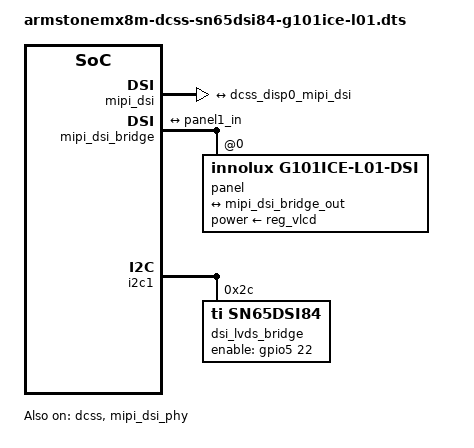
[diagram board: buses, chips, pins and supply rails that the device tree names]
/*
 * Copyright 2017 NXP
 *
 * This program is free software; you can redistribute it and/or
 * modify it under the terms of the GNU General Public License
 * as published by the Free Software Foundation; either version 2
 * of the License, or (at your option) any later version.
 *
 * This program is distributed in the hope that it will be useful,
 * but WITHOUT ANY WARRANTY; without even the implied warranty of
 * MERCHANTABILITY or FITNESS FOR A PARTICULAR PURPOSE.  See the
 * GNU General Public License for more details.
 */

#include "armstonemx8m.dts"

#define CONFIG_ARMSTONEMX8M_LVDS_3_3_V


&hdmi {
	status = "disabled";
};

&dcss {
	status = "okay";
	disp-dev = "mipi_disp";

	clocks = <&clk IMX8MQ_CLK_DISP_APB_ROOT>,
		 <&clk IMX8MQ_CLK_DISP_AXI_ROOT>,
		 <&clk IMX8MQ_CLK_DISP_RTRM_ROOT>,
		 <&clk IMX8MQ_CLK_DC_PIXEL>,
		 <&clk IMX8MQ_CLK_DUMMY>,
		 <&clk IMX8MQ_CLK_DISP_DTRC>;
	clock-names = "apb", "axi", "rtrm", "pix_div", "pix_out", "dtrc";

	assigned-clocks = <&clk IMX8MQ_CLK_DC_PIXEL>,
			  <&clk IMX8MQ_CLK_DISP_AXI>,
			  <&clk IMX8MQ_CLK_DISP_RTRM>,
			  <&clk IMX8MQ_VIDEO_PLL1_REF_SEL>,
			  <&clk IMX8MQ_VIDEO_PLL1>;
	assigned-clock-parents = <&clk IMX8MQ_VIDEO_PLL1_OUT>,
				 <&clk IMX8MQ_SYS1_PLL_800M>,
				 <&clk IMX8MQ_SYS1_PLL_800M>,
				 <&clk IMX8MQ_CLK_25M>;
	assigned-clock-rates = <600000000>,
			       <800000000>,
			       <0>,
			       <400000000>,
			       <599999999>;

	dcss_disp0: port@0 {
		reg = <0>;

		dcss_disp0_mipi_dsi: mipi_dsi {
			remote-endpoint = <&mipi_dsi_in>;
		};
	};
};

&mipi_dsi_phy {
	status = "okay";
};


&mipi_dsi {
	status = "okay";
	pwr-delay = <10>;
	best-match;

	assigned-clocks = <&clk IMX8MQ_CLK_DSI_PHY_REF>,
			  <&clk IMX8MQ_CLK_DSI_CORE>,
			  <&clk IMX8MQ_VIDEO_PLL1_REF_SEL>,
			  <&clk IMX8MQ_VIDEO_PLL1>;
	assigned-clock-parents = <&clk IMX8MQ_VIDEO_PLL1_OUT>,
				 <&clk IMX8MQ_SYS1_PLL_266M>,
				 <&clk IMX8MQ_CLK_25M>;
	assigned-clock-rates = <24000000>,
			       <266000000>,
			       <0>,
			       <599999999>;

	port@1 {
		#if 1
		mipi_dsi_in: endpoint {
			remote-endpoint = <&dcss_disp0_mipi_dsi>;
		};
		#else
		mipi_dsi_in: endpoint {
			remote-endpoint = <&lcdif_mipi_dsi>;
		};
		#endif
	};
};

&mipi_dsi_bridge {
	status = "okay";

	panel@0 {
		reg = <0>;
		compatible = "innolux,g101ice-l01-dsi"; /* one of panel-simple's
		     		          match strings */

		power-supply = <&reg_vlcd>;

		dsi,flags = <0x7>; /* MIPI_DSI_MODE_VIDEO MIPI_DSI_MODE_VIDEO_BURST MIPI_DSI_MODE_VIDEO_SYNC_PULSE */
		dsi,format = <0x0>; /* MIPI_DSI_FMT_RGB888 */
		dsi,lanes = <4>;
		panel-width-mm  = <217>;
		panel-height-mm = <135>;
		bus-flags = <1>;
		refresh-rate = <60>;
                rotate = <0>;

		display-timings {
			native-mode = <&timing0>;

			timing0: innolux_g101ice_l01 {
				clock-frequency = <71100000>;
				hactive = <1280>;
				vactive = <800>;
				hfront-porch = <80>;
				hsync-len = <1>;
				hback-porch = <79>;
				vfront-porch = <11>;
				vsync-len = <1>;
				vback-porch = <11>;
				de-active = <1>;
			};
		};

		port {
			panel1_in: endpoint {
				remote-endpoint = <&mipi_dsi_bridge_out>;
			};
		};
	};

	port@1 {
		mipi_dsi_bridge_out: endpoint {
			remote-endpoint = <&panel1_in>;
		};
	};
};

&i2c1 {

	dsi_lvds_bridge: sn65dsi84@2c {
		reg = <0x2c>;
		status = "okay";
		compatible = "ti,sn65dsi84";
		#gpio-cells = <2>;
		enable-gpios = <&gpio5 22 GPIO_ACTIVE_HIGH>; /* <&pinctrl_mipi_dsi_rst>; */
		sn65dsi84,addresses = <0x09 0x0A 0x0B 0x0D
		                       0x10 0x11 0x12 0x13
                               0x18 0x19 0x1A 0x1B
                               0x20 0x21 0x22 0x23
                               0x24 0x25 0x26 0x27
                               0x28 0x29 0x2A 0x2B
                               0x2C 0x2D 0x2E 0x2F
                               0x30 0x31 0x32 0x33
                               0x34 0x35 0x36 0x37
                               0x38 0x39 0x3A 0x3B
                               0x3C 0x3D 0x3E
                               0x0D>;

		sn65dsi84,values = </* reset and clock registers */
		                    0x00 0x05 0x10 0x00
                            /* DSI registers */
		                    0x26 0x00 0x2a 0x00
		                    /* LVDS registers */
                            0x78 0x00 0x03 0x00
                            /* video registers */
                            /* cha-al-len-l, cha-al-len-h */
                            0x00 0x05 0x00 0x00
                            /* cha-v-ds-l, cha-v-ds-h */
                            0x00 0x00 0x00 0x00
                            /* cha-sdl, cha-sdh*/
                            0x21 0x00 0x00 0x00
                            /* cha-hs-pwl, cha-hs-pwh */
                            0x01 0x00 0x00 0x00
                            /* cha-vs-pwl, cha-vs-pwh */
                            0x01 0x00 0x00 0x00
                            /*cha-hbp, cha-vbp */
                            0x4f 0x00 0x00 0x00
                            /* cha-hfp, cha-vfp*/
                            0x00 0x00 0x00 0x00
                            0x00 0x00 0x00
                            0x01>;
	};
};

